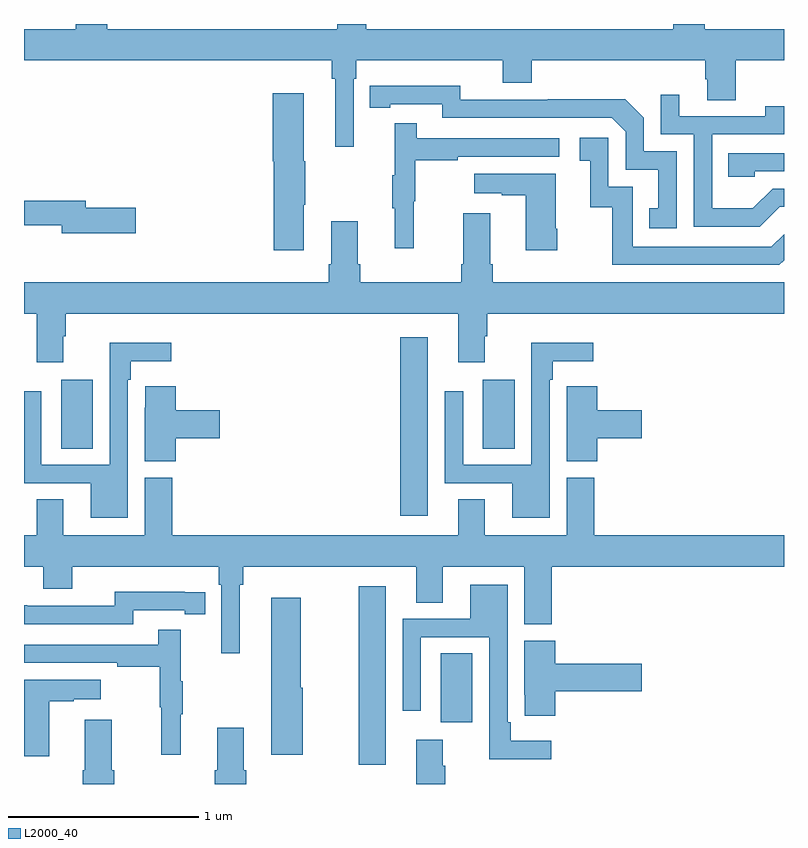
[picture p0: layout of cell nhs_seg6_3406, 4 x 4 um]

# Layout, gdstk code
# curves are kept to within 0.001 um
import gdstk
lib = gdstk.Library(unit=1e-6, precision=1e-09)
def R(c, l, rs):  # rectangles x0, y0, x1, y1
    for r in rs: c.add(gdstk.rectangle(r[:2], r[2:], *l))
def P(c, l, *ps):  # polygons
    for p in ps: c.add(gdstk.Polygon(p, *l))
L2000_40 = (2000, 40)

nhs_seg6_3406 = lib.new_cell('nhs_seg6_3406')
R(nhs_seg6_3406, L2000_40, [(312.763,971.601,312.904,972.541), (313.193,971.826,313.36,972.188), (312.98,972.912,313.126,973.852), (311.195,973.264,311.362,973.627), (313.415,973.264,313.582,973.627)])
P(nhs_seg6_3406, L2000_40, [(312.735,975.212),(312.749,975.212),(312.749,975.308),(313.52,975.308),(313.52,975.191),(313.673,975.191),(313.673,975.308),(314.585,975.308),(314.585,975.21),(314.597,975.21),(314.597,975.1),(314.745,975.1),(314.745,975.308),(315,975.308),(315,975.472),(314.582,975.472),(314.582,975.5),(314.417,975.5),(314.417,975.472),(312.8,975.472),(312.8,975.5),(312.648,975.5),(312.648,975.472),(311.438,975.472),(311.438,975.5),(311.273,975.5),(311.273,975.472),(311,975.472),(311,975.308),(312.619,975.308),(312.619,975.212),(312.638,975.212),(312.638,974.853),(312.735,974.853)],
  [(314.436,974.829),(314.262,974.829),(314.262,975.006),(314.164,975.104),(313.756,975.104),(313.756,975.102),(313.296,975.102),(313.296,975.175),(312.82,975.174),(312.82,975.058),(312.928,975.058),(312.928,975.078),(313.2,975.078),(313.2,975.006),(314.094,975.006),(314.166,974.934),(314.166,974.733),(314.339,974.733),(314.339,974.529),(314.29,974.529),(314.29,974.424),(314.436,974.424)],
  [(312.472,974.548),(312.48,974.548),(312.48,974.778),(312.472,974.778),(312.472,975.136),(312.308,975.136),(312.308,974.778),(312.314,974.778),(312.314,974.31),(312.472,974.31)],
  [(314.977,974.538),(315,974.538),(315,974.634),(314.94,974.634),(314.836,974.53),(314.622,974.53),(314.622,974.919),(315,974.919),(315,975.067),(314.9,975.067),(314.9,975.015),(314.449,975.015),(314.449,975.127),(314.352,975.127),(314.352,974.919),(314.526,974.919),(314.526,974.433),(314.872,974.433)],
  [(313.052,974.568),(313.06,974.568),(313.06,974.782),(313.283,974.782),(313.283,974.802),(313.816,974.802),(313.816,974.898),(313.067,974.898),(313.067,974.977),(312.95,974.977),(312.95,974.705),(312.939,974.705),(312.939,974.531),(312.95,974.531),(312.95,974.319),(313.052,974.319)],
  [(315,974.256),(315,974.394),(314.934,974.328),(314.205,974.328),(314.205,974.643),(314.076,974.643),(314.076,974.902),(313.926,974.902),(313.926,974.781),(313.979,974.781),(313.979,974.535),(314.097,974.535),(314.097,974.232),(314.976,974.232)],
  [(314.847,974.724),(315,974.724),(315,974.82),(314.707,974.82),(314.707,974.697),(314.847,974.697)],
  [(313.806,974.422),(313.798,974.422),(313.798,974.713),(313.371,974.713),(313.371,974.609),(313.514,974.609),(313.514,974.599),(313.64,974.599),(313.64,974.31),(313.806,974.31)],
  [(311.587,974.534),(311.326,974.534),(311.326,974.57),(311,974.57),(311,974.442),(311.198,974.442),(311.198,974.399),(311.587,974.399)],
  [(311.206,973.856),(311.219,973.856),(311.219,973.976),(313.286,973.976),(313.286,973.719),(313.426,973.719),(313.426,973.856),(313.439,973.856),(313.439,973.976),(315,973.976),(315,974.14),(313.466,974.14),(313.466,974.236),(313.453,974.236),(313.453,974.503),(313.313,974.503),(313.313,974.236),(313.301,974.236),(313.301,974.14),(312.77,974.14),(312.77,974.236),(312.757,974.236),(312.757,974.461),(312.617,974.461),(312.617,974.236),(312.605,974.236),(312.605,974.14),(311,974.14),(311,973.976),(311.066,973.976),(311.066,973.719),(311.206,973.719)],
  [(313.767,973.628),(313.783,973.628),(313.783,973.724),(313.996,973.724),(313.996,973.822),(313.671,973.822),(313.671,973.179),(313.311,973.179),(313.311,973.567),(313.215,973.567),(313.215,973.083),(313.571,973.083),(313.571,972.902),(313.767,972.902)],
  [(311.547,973.628),(311.563,973.628),(311.563,973.724),(311.776,973.724),(311.776,973.822),(311.451,973.822),(311.451,973.179),(311.091,973.179),(311.091,973.567),(311,973.567),(311,973.083),(311.351,973.083),(311.351,972.902),(311.547,972.902)],
  [(311.798,973.319),(312.031,973.319),(312.031,973.466),(311.798,973.466),(311.798,973.594),(311.637,973.594),(311.637,973.481),(311.636,973.481),(311.636,973.198),(311.798,973.198)],
  [(314.018,973.319),(314.251,973.319),(314.251,973.466),(314.018,973.466),(314.018,973.594),(313.857,973.594),(313.857,973.481),(313.856,973.481),(313.856,973.198),(314.018,973.198)],
  [(311.78,973.113),(311.636,973.113),(311.636,972.808),(311.206,972.808),(311.206,972.998),(311.066,972.998),(311.066,972.808),(311,972.808),(311,972.644),(311.102,972.644),(311.102,972.527),(311.254,972.527),(311.254,972.644),(312.026,972.644),(312.026,972.548),(312.039,972.548),(312.039,972.189),(312.136,972.189),(312.136,972.548),(312.155,972.548),(312.155,972.644),(313.064,972.644),(313.064,972.454),(313.204,972.454),(313.204,972.644),(313.634,972.644),(313.634,972.34),(313.778,972.34),(313.778,972.644),(315,972.644),(315,972.808),(314,972.808),(314,973.113),(313.856,973.113),(313.856,972.808),(313.426,972.808),(313.426,972.998),(313.286,972.998),(313.286,972.808),(311.78,972.808)],
  [(313.774,971.728),(313.561,971.728),(313.561,971.824),(313.545,971.824),(313.545,972.55),(313.349,972.55),(313.349,972.369),(312.993,972.369),(312.993,971.886),(313.089,971.886),(313.089,972.273),(313.449,972.273),(313.449,971.63),(313.774,971.63)],
  [(311.574,972.414),(311.846,972.414),(311.846,972.394),(311.954,972.394),(311.954,972.51),(311.846,972.51),(311.846,972.511),(311.478,972.511),(311.478,972.438),(311.018,972.438),(311.018,972.44),(311,972.44),(311,972.342),(311.574,972.342)],
  [(312.466,972.006),(312.456,972.006),(312.456,972.481),(312.302,972.481),(312.302,971.654),(312.466,971.654)],
  [(311.825,971.867),(311.836,971.867),(311.836,972.041),(311.825,972.041),(311.825,972.313),(311.707,972.313),(311.707,972.234),(311,972.234),(311,972.138),(311.491,972.138),(311.491,972.118),(311.715,972.118),(311.715,971.904),(311.722,971.904),(311.722,971.655),(311.825,971.655)],
  [(313.796,971.987),(314.251,971.987),(314.251,972.134),(313.796,972.134),(313.796,972.255),(313.634,972.255),(313.634,971.971),(313.635,971.971),(313.635,971.859),(313.796,971.859)],
  [(311.134,971.935),(311.261,971.935),(311.261,971.945),(311.404,971.945),(311.404,972.049),(311,972.049),(311,971.646),(311.134,971.646)],
  [(312.17,971.572),(312.157,971.572),(312.157,971.797),(312.017,971.797),(312.017,971.572),(312.005,971.572),(312.005,971.5),(312.17,971.5)],
  [(313.217,971.597),(313.204,971.597),(313.204,971.734),(313.064,971.734),(313.064,971.5),(313.217,971.5)],
  [(311.321,971.839),(311.321,971.572),(311.309,971.572),(311.309,971.5),(311.474,971.5),(311.474,971.572),(311.461,971.572),(311.461,971.839)])

lib.write_gds('nhs_seg6_3406.gds')
